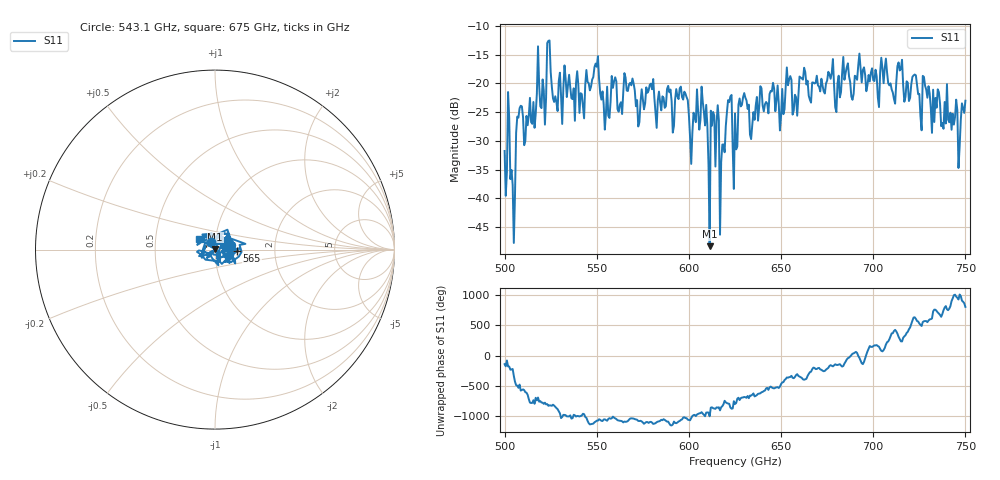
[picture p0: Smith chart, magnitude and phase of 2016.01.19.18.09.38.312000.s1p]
!Created with skrf (http://scikit-rf.org).
# GHz S RI R 50.0
!freq ReS11 ImS11
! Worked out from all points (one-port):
!   401 points, 500 GHz to 750 GHz, reference 50 ohm
!   lowest |S11| = -48.3 dB at 611.2 GHz (marker M1), VSWR 1.01, Z = 50 + j0.381 ohm
!   |S11| at or under -10 dB: start of sweep to end of sweep
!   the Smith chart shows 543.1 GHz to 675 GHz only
!   S11 on the Smith chart (normalised r, x): 543.1 GHz: 0.95, +0.08; 565 GHz: 1.28, -0.02; 675 GHz: 0.83, +0.10
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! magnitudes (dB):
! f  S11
! 500 GHz  -31.8
! 503.1 GHz  -36.7
! 504.4 GHz  -37.7
! 508.1 GHz  -24.3
! 521.2 GHz  -21.2
! 524.4 GHz  -12.5
! 527.5 GHz  -22.2
! 531.2 GHz  -27.1
! 543.1 GHz  -26.1
! 550 GHz  -17.1
! 553.8 GHz  -23.6
! 559.4 GHz  -19.7
! 562.5 GHz  -23.7
! 565 GHz  -18.2
! 593.8 GHz  -22.2
! 601.2 GHz  -34.0
! 608.1 GHz  -25.0
! 611.2 GHz  -48.3
! 614.4 GHz  -34.5
! 618.1 GHz  -30.6
! 621.9 GHz  -23.3
! 625 GHz  -25.2
! 628.8 GHz  -23.7
! 656.2 GHz  -25.4
! 675 GHz  -19.5
! 687.5 GHz  -19.8
! 718.8 GHz  -19.9
! 750 GHz  -23.0
